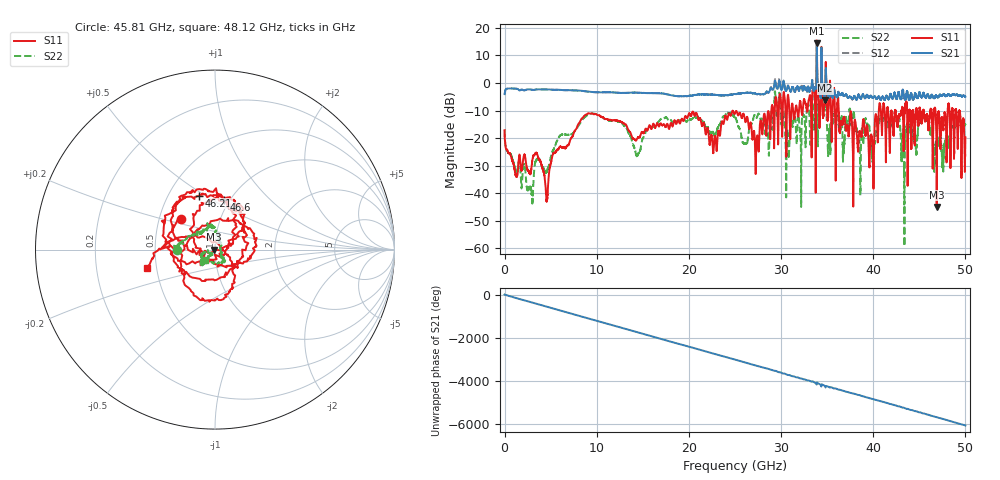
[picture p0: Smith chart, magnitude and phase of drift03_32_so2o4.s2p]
!Created with skrf (http://scikit-rf.org).
# Hz S RI R 50.0
!freq ReS11 ImS11 ReS21 ImS21 ReS12 ImS12 ReS22 ImS22
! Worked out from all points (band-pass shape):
!   10001 points, 300 kHz to 50 GHz, reference 50 ohm
!   highest |S21| = 14.42 dB at 33.88 GHz (marker M1); lowest = -6.3 dB at 34.79 GHz (marker M2)
!   |S21| within 3 dB of the highest: 33.86945 GHz to 33.88842 GHz (18.97 MHz wide, 0.056 % of centre); 34.37703 GHz to 34.3889 GHz (11.87 MHz wide, 0.0345 % of centre)
!   lowest |S11| = -45.0 dB at 46.89 GHz (marker M3), VSWR 1.01, Z = 49.4 - j0.0747 ohm
!   |S11| at or under -10 dB: start of sweep to 28.94 GHz; 36.26 GHz to 40.61 GHz (4.342 GHz wide, 11.3 % of centre); 46.75 GHz to 48.08 GHz (1.332 GHz wide, 2.81 % of centre) (the widest 3 of 52)
!   |S22| runs from -59.3 to 10.9 dB; largest |S21 - S12| = 0.82
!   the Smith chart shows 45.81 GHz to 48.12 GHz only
!   S11 on the Smith chart (normalised r, x): 45.81 GHz: 0.65, +0.24; 46.21 GHz: 0.71, +0.47; 46.6 GHz: 0.94, +0.57; 48.12 GHz: 0.44, -0.10
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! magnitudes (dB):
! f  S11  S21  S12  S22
! 300 kHz  -17.2  -4.0  -4.0  -17.0
! 2.825 GHz  -32.7  -2.4  -2.4  -38.3
! 4.565 GHz  -42.2  -2.3  -2.3  -32.2
! 8.335 GHz  -13.1  -2.8  -2.8  -13.9
! 14.44 GHz  -19.9  -3.5  -3.5  -26.4
! 16.67 GHz  -15.4  -3.7  -3.7  -14.3
! 22.82 GHz  -19.4  -4.3  -4.3  -19.2
! 25 GHz  -11.0  -4.0  -4.0  -12.5
! 27.39 GHz  -19.3  -4.1  -4.1  -12.4
! 29.6 GHz  -10.4  -2.0  -2.1  -11.8
! 30.7 GHz  -5.8  -1.4  -1.5  -17.2
! 33.34 GHz  -13.9  -0.5  -0.6  -7.2
! 33.88 GHz  15.5  14.4  14.1  10.9
! 34.79 GHz  -3.1  -6.3  -5.0  -8.7
! 39.81 GHz  -19.2  -5.0  -4.8  -23.9
! 41.67 GHz  -12.0  -6.0  -5.9  -15.0
! 45.81 GHz  -11.9  -4.7  -4.7  -13.6
! 46.21 GHz  -10.1  -5.3  -5.3  -18.8
! 46.6 GHz  -11.0  -5.4  -5.4  -31.0
! 46.89 GHz  -45.0  -4.9  -4.9  -22.5
! 48.12 GHz  -8.2  -4.1  -4.0  -22.0
! 50 GHz  -19.7  -4.9  -4.9  -15.2
